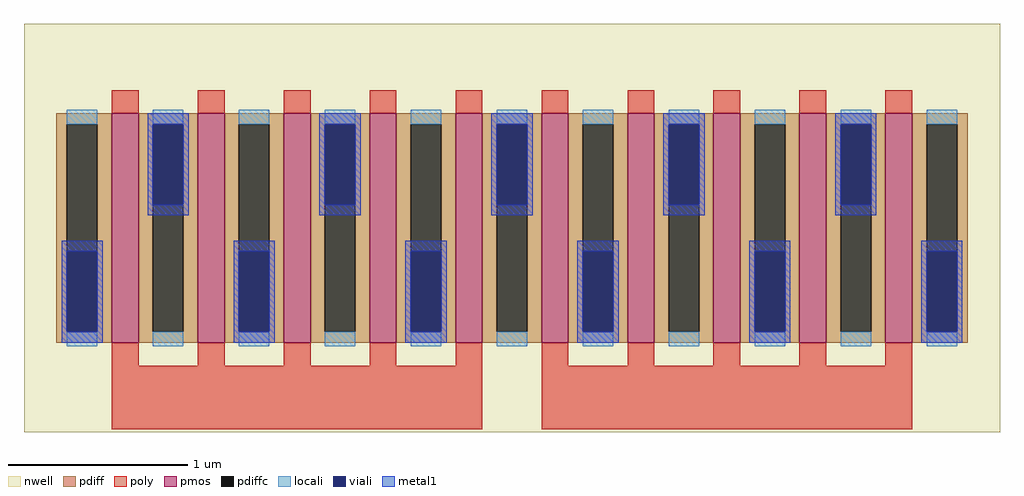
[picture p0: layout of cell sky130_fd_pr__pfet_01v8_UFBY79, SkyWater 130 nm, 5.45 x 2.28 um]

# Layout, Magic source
magic
tech sky130B
magscale 1 2
<< nwell >>
rect -545 -228 545 228
<< pmos >>
rect -447 -128 -417 128
rect -351 -128 -321 128
rect -255 -128 -225 128
rect -159 -128 -129 128
rect -63 -128 -33 128
rect 33 -128 63 128
rect 129 -128 159 128
rect 225 -128 255 128
rect 321 -128 351 128
rect 417 -128 447 128
<< pdiff >>
rect -509 116 -447 128
rect -509 -116 -497 116
rect -463 -116 -447 116
rect -509 -128 -447 -116
rect -417 116 -351 128
rect -417 -116 -401 116
rect -367 -116 -351 116
rect -417 -128 -351 -116
rect -321 116 -255 128
rect -321 -116 -305 116
rect -271 -116 -255 116
rect -321 -128 -255 -116
rect -225 116 -159 128
rect -225 -116 -209 116
rect -175 -116 -159 116
rect -225 -128 -159 -116
rect -129 116 -63 128
rect -129 -116 -113 116
rect -79 -116 -63 116
rect -129 -128 -63 -116
rect -33 116 33 128
rect -33 -116 -17 116
rect 17 -116 33 116
rect -33 -128 33 -116
rect 63 116 129 128
rect 63 -116 79 116
rect 113 -116 129 116
rect 63 -128 129 -116
rect 159 116 225 128
rect 159 -116 175 116
rect 209 -116 225 116
rect 159 -128 225 -116
rect 255 116 321 128
rect 255 -116 271 116
rect 305 -116 321 116
rect 255 -128 321 -116
rect 351 116 417 128
rect 351 -116 367 116
rect 401 -116 417 116
rect 351 -128 417 -116
rect 447 116 509 128
rect 447 -116 463 116
rect 497 -116 509 116
rect 447 -128 509 -116
<< pdiffc >>
rect -497 -116 -463 116
rect -401 -116 -367 116
rect -305 -116 -271 116
rect -209 -116 -175 116
rect -113 -116 -79 116
rect -17 -116 17 116
rect 79 -116 113 116
rect 175 -116 209 116
rect 271 -116 305 116
rect 367 -116 401 116
rect 463 -116 497 116
<< poly >>
rect -447 128 -417 154
rect -351 128 -321 154
rect -255 128 -225 154
rect -159 128 -129 154
rect -63 128 -33 154
rect 33 128 63 154
rect 129 128 159 154
rect 225 128 255 154
rect 321 128 351 154
rect 417 128 447 154
rect -447 -154 -417 -128
rect -351 -154 -321 -128
rect -255 -154 -225 -128
rect -159 -154 -129 -128
rect -63 -154 -33 -128
rect -447 -225 -33 -154
rect 33 -154 63 -128
rect 129 -154 159 -128
rect 225 -154 255 -128
rect 321 -154 351 -128
rect 417 -154 447 -128
rect 33 -225 447 -154
<< locali >>
rect -497 116 -463 132
rect -497 -132 -463 -116
rect -401 116 -367 132
rect -401 -132 -367 -116
rect -305 116 -271 132
rect -305 -132 -271 -116
rect -209 116 -175 132
rect -209 -132 -175 -116
rect -113 116 -79 132
rect -113 -132 -79 -116
rect -17 116 17 132
rect -17 -132 17 -116
rect 79 116 113 132
rect 79 -132 113 -116
rect 175 116 209 132
rect 175 -132 209 -116
rect 271 116 305 132
rect 271 -132 305 -116
rect 367 116 401 132
rect 367 -132 401 -116
rect 463 116 497 132
rect 463 -132 497 -116
<< viali >>
rect -497 -116 -463 -26
rect -401 26 -367 116
rect -305 -116 -271 -26
rect -209 26 -175 116
rect -113 -116 -79 -26
rect -17 26 17 116
rect 79 -116 113 -26
rect 175 26 209 116
rect 271 -116 305 -26
rect 367 26 401 116
rect 463 -116 497 -26
<< metal1 >>
rect -407 116 -361 128
rect -407 26 -401 116
rect -367 26 -361 116
rect -407 14 -361 26
rect -215 116 -169 128
rect -215 26 -209 116
rect -175 26 -169 116
rect -215 14 -169 26
rect -23 116 23 128
rect -23 26 -17 116
rect 17 26 23 116
rect -23 14 23 26
rect 169 116 215 128
rect 169 26 175 116
rect 209 26 215 116
rect 169 14 215 26
rect 361 116 407 128
rect 361 26 367 116
rect 401 26 407 116
rect 361 14 407 26
rect -503 -26 -457 -14
rect -503 -116 -497 -26
rect -463 -116 -457 -26
rect -503 -128 -457 -116
rect -311 -26 -265 -14
rect -311 -116 -305 -26
rect -271 -116 -265 -26
rect -311 -128 -265 -116
rect -119 -26 -73 -14
rect -119 -116 -113 -26
rect -79 -116 -73 -26
rect -119 -128 -73 -116
rect 73 -26 119 -14
rect 73 -116 79 -26
rect 113 -116 119 -26
rect 73 -128 119 -116
rect 265 -26 311 -14
rect 265 -116 271 -26
rect 305 -116 311 -26
rect 265 -128 311 -116
rect 457 -26 503 -14
rect 457 -116 463 -26
rect 497 -116 503 -26
rect 457 -128 503 -116
<< properties >>
string gencell sky130_fd_pr__pfet_01v8
string library sky130
string parameters w 1.284 l 0.15 m 1 nf 10 diffcov 100 polycov 100 guard 0 glc 1 grc 1 gtc 1 gbc 1 tbcov 100 rlcov 100 topc 0 botc 0 poverlap 0 doverlap 1 lmin 0.15 wmin 0.42 compatible {sky130_fd_pr__pfet_01v8  sky130_fd_pr__pfet_01v8_lvt sky130_fd_pr__pfet_01v8_hvt  sky130_fd_pr__pfet_g5v0d10v5} full_metal 0 viasrc 100 viadrn 100 viagate 0 viagb 0 viagr 0 viagl 0 viagt 0
<< end >>
